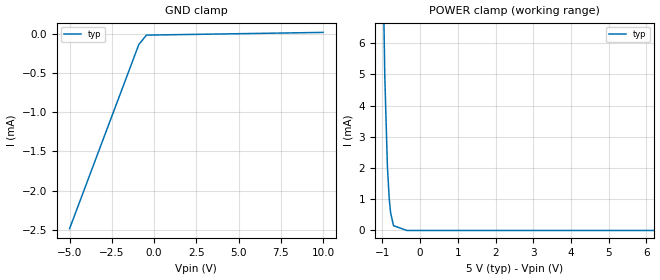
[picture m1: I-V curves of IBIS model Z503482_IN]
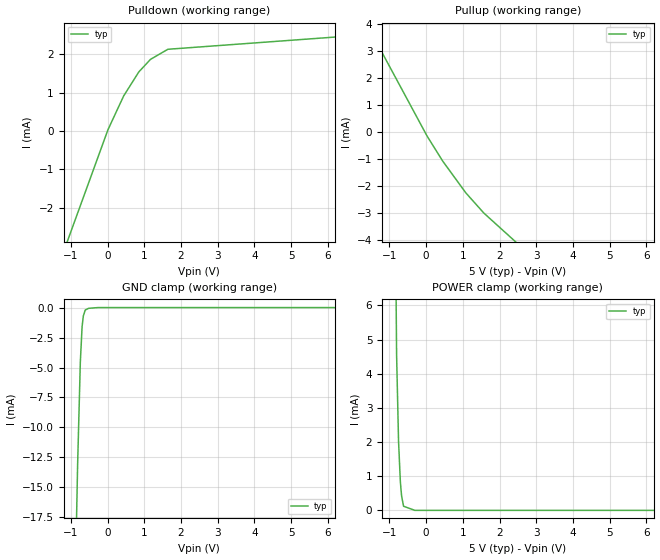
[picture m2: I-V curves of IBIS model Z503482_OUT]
| YOU ARE ONLY AUTHORIZED TO USE THIS SOFTWARE
| ACCORDING TO LICENSOR'S LICENSE RESTRICTIONS.
[IBIS Ver] 3.1
[File Name] mc14015bcl.ibs
[File Rev] 2.0
[Source] Measured and created by ICX Technology
[Date] Friday 7/14/00 9:07:51 AM
[Copyright]
| (C) COPYRIGHT 1993-2000
| MENTOR GRAPHICS CORPORATION
| ICX STANDARD LIBRARY, ICX PROJECT MODELING,
| ICX CUSTOM MODELING, ICX VENDOR MODEL
| ALL RIGHTS RESERVED.
| THE FOLLOWING ARE TRADEMARKS OR SERVICE MARKS OF
| MENTOR GRAPHICS CORPORATION:ICX (R), ICX STANDARD
| LIBRARY(R), ICX PROJECT MODELING(R), ICX CUSTOM
| MODELING(R), qualityIBIS(TM), MODELVIEWER(TM),
| AND MODELEDITOR(TM)
| ALL COPIES OF SOFTWARE, INCLUDING BUT NOT LIMITED TO
| ANY MODIFICATIONS, ENHANCEMENTS OR DERIVATIVE WORKS,
| MUST CONTAIN ALL MENTOR GRAPHICS CORPORATION'S
| NOTICES AND LEGENDS, INCLUDING THOSE EMBEDDED IN
| SOFTWARE AND THOSE AFFIXED TO SOFTWARE MEDIUM
| AND CONTAINER, AS RECEIVED FROM MENTOR GRAPHICS
| CORPORATION.
|  ZAP Model Builder 2.7
[Component] MC14015BCL
[Manufacturer] OnSemiconductor
[Package]
| variable   typ   min   max
R_pkg  .212ohms NA NA
L_pkg  4.758nH NA NA
C_pkg  1.944pF NA NA
[Pin] signal_name  model_name  R_pin  L_pin C_pin
1 CB0 Z503482_IN .224 7.258n 2.683p
2 Q3B Z503482_OUT .216 5.258n 2.19p
3 Q2A Z503482_OUT .208 3.758n 1.697p
4 Q1A Z503482_OUT .2 2.758n 1.204p
5 Q0A Z503482_OUT .2 2.758n 1.204p
6 RA Z503482_IN .208 3.758n 1.697p
7 DA Z503482_IN .216 5.258n 2.19p
8 VSS GND .224 7.258n 2.683p
9 C1 Z503482_IN .224 7.258n 2.683p
10 Q3A Z503482_OUT .216 5.258n 2.19p
11 Q2B Z503482_OUT .208 3.758n 1.697p
12 Q1B Z503482_OUT .2 2.758n 1.204p
13 Q0B Z503482_OUT .2 2.758n 1.204p
14 RB Z503482_IN .208 3.758n 1.697p
15 DB Z503482_IN .216 5.258n 2.19p
16 VDD POWER .224 7.258n 2.683p
| Models and submodels in the file (2): Z503482_IN (Input), Z503482_OUT (Output)
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| (C) COPYRIGHT 1993-2000
| MENTOR GRAPHICS CORPORATION
| ICX STANDARD LIBRARY, ICX PROJECT MODELING,
| ICX CUSTOM MODELING, ICX VENDOR MODEL
| ALL RIGHTS RESERVED.
| THE FOLLOWING ARE TRADEMARKS OR SERVICE MARKS OF
| MENTOR GRAPHICS CORPORATION:ICX (R), ICX STANDARD
| LIBRARY(R), ICX PROJECT MODELING(R), ICX CUSTOM
| MODELING(R), qualityIBIS(TM), MODELVIEWER(TM),
| AND MODELEDITOR(TM)
| ALL COPIES OF SOFTWARE, INCLUDING BUT NOT LIMITED TO
| ANY MODIFICATIONS, ENHANCEMENTS OR DERIVATIVE WORKS,
| MUST CONTAIN ALL MENTOR GRAPHICS CORPORATION'S
| NOTICES AND LEGENDS, INCLUDING THOSE EMBEDDED IN
| SOFTWARE AND THOSE AFFIXED TO SOFTWARE MEDIUM
| AND CONTAINER, AS RECEIVED FROM MENTOR GRAPHICS
| CORPORATION.
| Model Application Version 1.89 2/18/99.
[Model] Z503482_IN
Model_type Input
Vinl = 1.500V
Vinh = 3.500V
C_comp 4.000pF NA NA
| variable typ   min   max
[Voltage Range] 5.000V NA NA
[GND Clamp Reference] 0.000V NA NA
[POWER Clamp Reference] 5.000V NA NA
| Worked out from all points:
|   POWER clamp passes 1 mA (typ) near -0.82 V on its own axis
[GND Clamp]
-5V       -2.486mA   NA         NA
-903.4mV  -134.5uA   NA         NA
-451.7mV  -13.98uA   NA         NA
10V       20.85uA    NA         NA
[POWER Clamp]
-5V       558.3mA    NA         NA
-1.23V    33.36mA    NA         NA
-1.064V   14.47mA    NA         NA
-938mV    4.925mA    NA         NA
-869mV    2.051mA    NA         NA
-820mV    1.012mA    NA         NA
-785mV    575uA      NA         NA
-707mV    154.3uA    NA         NA
-353.5mV  0A         NA         NA
10V       0A         NA         NA
| (C) COPYRIGHT 1993-2000
| MENTOR GRAPHICS CORPORATION
| ICX STANDARD LIBRARY, ICX PROJECT MODELING,
| ICX CUSTOM MODELING, ICX VENDOR MODEL
| ALL RIGHTS RESERVED.
| THE FOLLOWING ARE TRADEMARKS OR SERVICE MARKS OF
| MENTOR GRAPHICS CORPORATION:ICX (R), ICX STANDARD
| LIBRARY(R), ICX PROJECT MODELING(R), ICX CUSTOM
| MODELING(R), qualityIBIS(TM), MODELVIEWER(TM),
| AND MODELEDITOR(TM)
| ALL COPIES OF SOFTWARE, INCLUDING BUT NOT LIMITED TO
| ANY MODIFICATIONS, ENHANCEMENTS OR DERIVATIVE WORKS,
| MUST CONTAIN ALL MENTOR GRAPHICS CORPORATION'S
| NOTICES AND LEGENDS, INCLUDING THOSE EMBEDDED IN
| SOFTWARE AND THOSE AFFIXED TO SOFTWARE MEDIUM
| AND CONTAINER, AS RECEIVED FROM MENTOR GRAPHICS
| CORPORATION.
| Model Application Version 1.89 2/18/99.
[Model] Z503482_OUT
Model_type Output
Vref=0.000V
Rref=500.0Mohms
Cref=50.00pF
Vmeas=2.500V
C_comp 8.000pF NA NA
| variable typ   min   max
[Voltage Range] 5.000V NA NA
[POWER Clamp Reference] 5.000V NA NA
[Pullup Reference] 5.000V NA NA
[Pulldown Reference] 0.000V NA NA
[GND Clamp Reference] 0.000V NA NA
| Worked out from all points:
|   slope of the pulldown table from 0 to 0.75 V, typ, clamps not added: 542 ohm
|   slope of the pullup table from 0 to 0.75 V, typ, clamps not added: 483 ohm
|   GND clamp passes 1 mA (typ) near -0.67 V on its own axis
|   POWER clamp passes 1 mA (typ) near -0.71 V on its own axis
[GND Clamp]
-5V       -652.5mA   NA         NA
-815.4mV  -13.01mA   NA         NA
-742.2mV  -4.541mA   NA         NA
-694.4mV  -1.601mA   NA         NA
-661.4mV  -712.1uA   NA         NA
-609.5mV  -207.9uA   NA         NA
-517mV    -62.78uA   NA         NA
-258.5mV  0A         NA         NA
10V       0A         NA         NA
[Pulldown]
-5V       -13.17mA   NA         NA
9.727mV   33.43uA    NA         NA
439.5mV   918.9uA    NA         NA
849.6mV   1.542mA    NA         NA
1.169V    1.872mA    NA         NA
1.643V    2.135mA    NA         NA
10V       2.721mA    NA         NA
[Pullup]
-5V       12.55mA    NA         NA
24mV      -144uA     NA         NA
454mV     -1.082mA   NA         NA
1.079V    -2.252mA   NA         NA
1.572V    -3.005mA   NA         NA
10V       -13.39mA   NA         NA
[POWER Clamp]
-5V       527.4mA    NA         NA
-805mV    4.567mA    NA         NA
-752mV    2.029mA    NA         NA
-703mV    851uA      NA         NA
-669mV    423.9uA    NA         NA
-615mV    120.4uA    NA         NA
-307.5mV  0A         NA         NA
10V       0A         NA         NA
[Ramp]
| variable typ min max
dV/dt_r 2.535/42.66n NA NA
dV/dt_f 2.535/45.21n NA NA
R_load = 2.500kOhms
